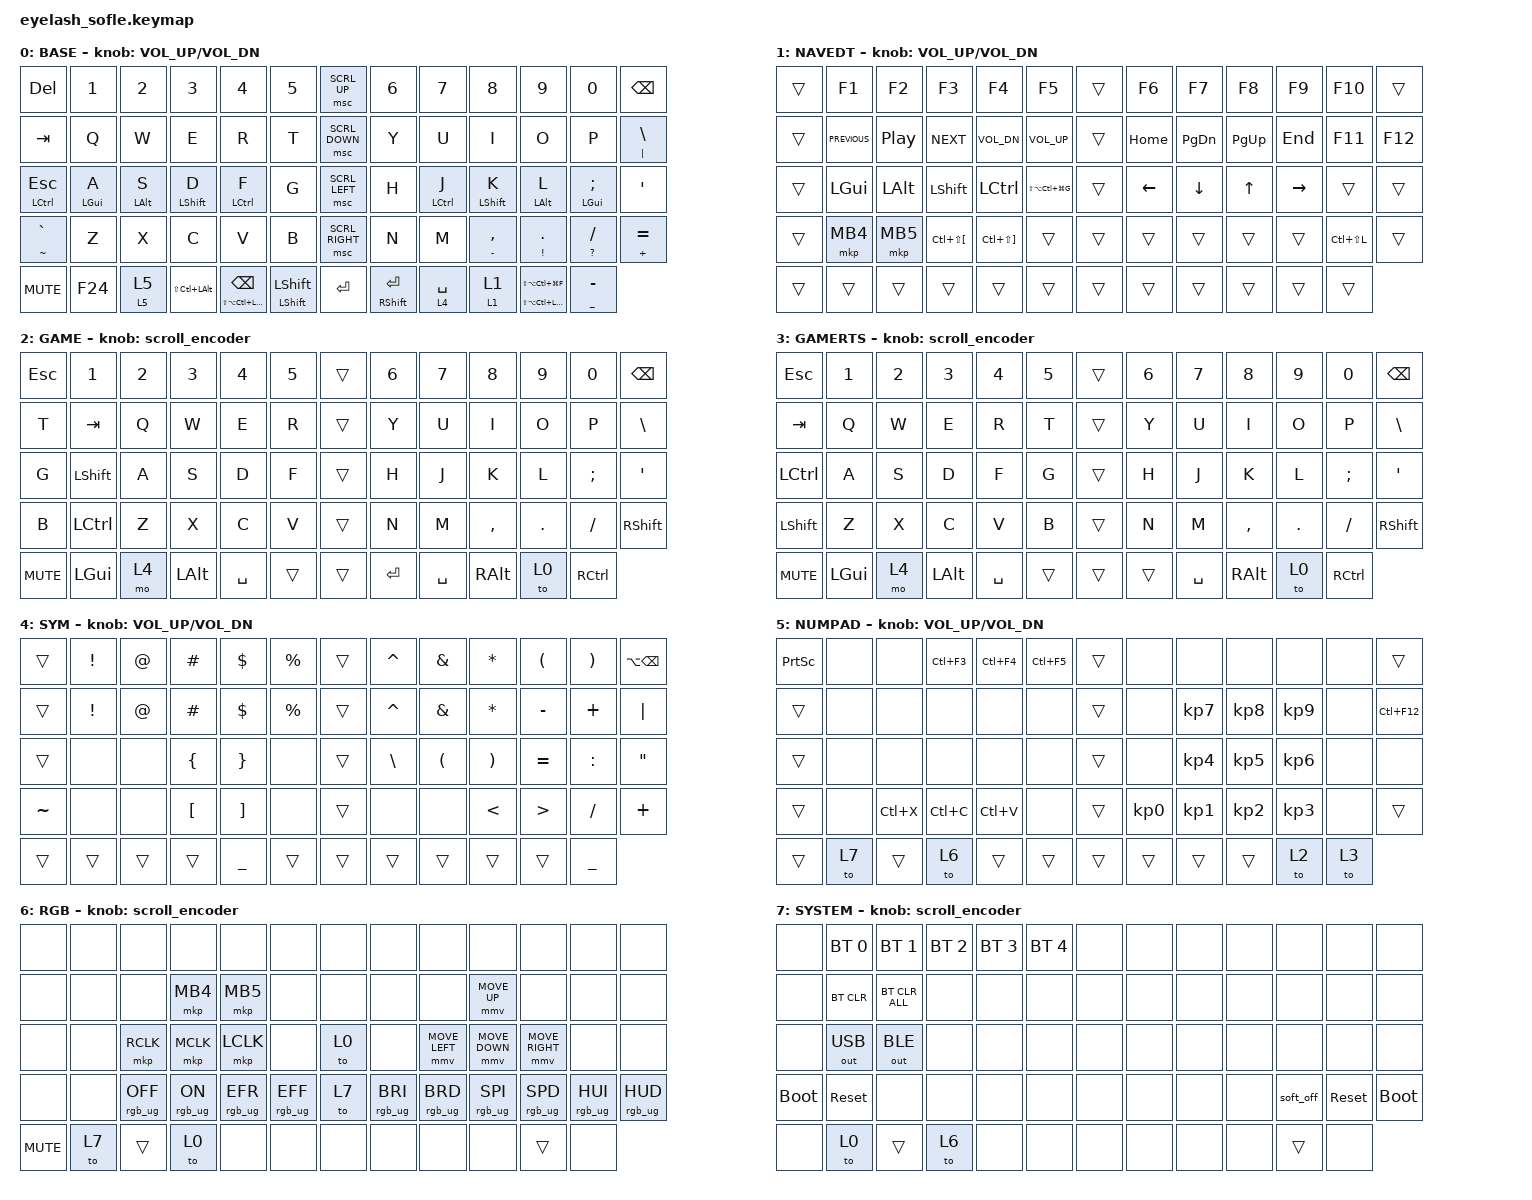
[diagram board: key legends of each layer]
#define ZMK_POINTING_DEFAULT_MOVE_VAL 1200  // 600
#define ZMK_POINTING_DEFAULT_SCRL_VAL 25   // 10

#include <input/processors.dtsi>
#include <zephyr/dt-bindings/input/input-event-codes.h>
#include <behaviors.dtsi>
#include <dt-bindings/zmk/bt.h>
#include <dt-bindings/zmk/keys.h>
#include <dt-bindings/zmk/outputs.h>
#include <dt-bindings/zmk/pointing.h>
#include <dt-bindings/zmk/rgb.h>

&mmv_input_listener { input-processors = <&zip_xy_scaler 2 1>; };

&msc_input_listener { input-processors = <&zip_scroll_scaler 2 1>; };

&msc {
    acceleration-exponent = <1>;      // 0
    time-to-max-speed-ms = <100>;       // 300
    delay-ms = <0>;                   // 0
};

&mmv {
    time-to-max-speed-ms = <500>;
    acceleration-exponent = <1>;
    trigger-period-ms = <16>;
};

/ {
    scroll_encoder: scroll_encoder {
        compatible = "zmk,behavior-sensor-rotate";
        #sensor-binding-cells = <0>;
        bindings = <&msc SCRL_DOWN>, <&msc SCRL_UP>;

        tap-ms = <100>;
    };

    hml: homerow_mod_left {
        compatible = "zmk,behavior-hold-tap";
        label = "HOMEROW_MOD_LEFT";
        #binding-cells = <2>;
        bindings = <&kp>, <&kp>;

        tapping-term-ms = <280>;
        flavor = "balanced";
        quick-tap-ms = <175>;
        require-prior-idle-ms = <130>;
        hold-trigger-on-release;
        hold-trigger-key-positions = <0 13 26 39 40 27 1 14 3 2 15 28 41 53 54 42 29 16 4 17 30 43 55 44 31 18 5 56 57>;
    };

    hmr: homerow_mod_right {
        compatible = "zmk,behavior-hold-tap";
        label = "HOMEROW_MOD_RIGHT";
        #binding-cells = <2>;
        bindings = <&kp>, <&kp>;

        tapping-term-ms = <280>;
        flavor = "balanced";
        quick-tap-ms = <175>;
        require-prior-idle-ms = <130>;
        hold-trigger-on-release;
        hold-trigger-key-positions = <7 8 9 10 11 12 20 21 22 23 24 25 33 34 35 36 37 38 46 47 48 49 50 51 60 61 62 63 59>;
    };

    skq: stick_key_quick_release {
        compatible = "zmk,behavior-sticky-key";
        label = "STICKY_KEY_QUICK_RELEASE";
        bindings = <&kp>;
        #binding-cells = <1>;
        release-after-ms = <1000>;
        quick-release;
    };

    oss: oneshot_mod {
        compatible = "zmk,behavior-hold-tap";
        label = "ONESHOT_MOD";
        bindings = <&kp>, <&skq>;

        #binding-cells = <2>;
        tapping-term-ms = <200>;
    };

    mo_tog: mo_tog {
        compatible = "zmk,behavior-hold-tap";
        #binding-cells = <2>;
        flavor = "hold-preferred";
        tapping-term-ms = <200>;
        bindings = <&mo>, <&tog>;
    };

    mo_sl: mo_sl {
        compatible = "zmk,behavior-hold-tap";
        #binding-cells = <2>;
        flavor = "hold-preferred";
        tapping-term-ms = <200>;
        bindings = <&mo>, <&sl>;

        label = "MO_SL";
    };

    mt_tp: mt_tap_preffered {
        compatible = "zmk,behavior-hold-tap";
        label = "MT_TAP_PREFFERED";
        bindings = <&kp>, <&kp>;

        #binding-cells = <2>;
        flavor = "tap-preferred";
        tapping-term-ms = <200>;
    };

    lt_td0: lt_tap_dance {
        compatible = "zmk,behavior-tap-dance";
        label = "lt_tap_dance";
        tapping-term-ms = <200>;
        #binding-cells = <0>;
        bindings = <&lt 4 SPACE>, <&kp PERIOD>;
    };

    behaviors {
    };

    keymap {
        compatible = "zmk,keymap";

        Base {
            bindings = <
&kp DEL                  &kp N1           &kp N2           &kp N3                &kp N4                             &kp N5                        &msc SCRL_UP     &kp N6               &kp N7               &kp N8              &kp N9                                     &kp N0                   &kp BACKSPACE
&kp TAB                  &kp Q            &kp W            &kp E                 &kp R                              &kp T                         &msc SCRL_DOWN   &kp Y                &kp U                &kp I               &kp O                                      &kp P                    &mt_tp PIPE BACKSLASH
&mt LEFT_CONTROL ESCAPE  &hml LEFT_GUI A  &hml LEFT_ALT S  &hml LSHIFT D         &hml LCTRL F                       &kp G                         &msc SCRL_LEFT   &kp H                &hmr LEFT_CONTROL J  &hmr LEFT_SHIFT K   &hmr LEFT_ALT L                            &hmr LEFT_GUI SEMICOLON  &kp APOS
&mt_tp TILDE GRAVE       &kp Z            &kp X            &kp C                 &kp V                              &kp B                         &msc SCRL_RIGHT  &kp N                &kp M                &mt_tp MINUS COMMA  &mt_tp EXCLAMATION PERIOD                  &mt_tp QUESTION FSLH     &mt_tp PLUS EQUAL
&kp C_MUTE               &kp F24          &mo_tog 5 5      &kp LS(LC(LEFT_ALT))  &mt_tp LS(LA(LC(LGUI))) BACKSPACE  &oss LEFT_SHIFT LEFT_SHIFT    &kp ENTER        &mt_tp RSHIFT ENTER  &lt 4 SPACE          &mo_tog 1 1         &mt_tp LS(LA(LC(LGUI))) LS(LA(LC(LG(F))))  &mt_tp UNDER MINUS
            >;

            sensor-bindings = <&inc_dec_kp C_VOLUME_UP C_VOL_DN>;
            display-name = "BASE";
        };

        Nav_Edit {
            bindings = <
&trans  &kp F1          &kp F2            &kp F3                    &kp F4                     &kp F5                   &trans  &kp F6          &kp F7          &kp F8        &kp F9           &kp F10        &trans
&trans  &kp C_PREVIOUS  &kp C_PLAY_PAUSE  &kp C_NEXT                &kp C_VOL_DN               &kp C_VOL_UP             &trans  &kp HOME        &kp PAGE_DOWN   &kp PAGE_UP   &kp END          &kp F11        &kp F12
&trans  &kp LEFT_GUI    &kp LEFT_ALT      &kp LEFT_SHIFT            &kp LEFT_CONTROL           &kp LS(LA(LC(LG(G))))    &trans  &kp LEFT_ARROW  &kp DOWN_ARROW  &kp UP_ARROW  &kp RIGHT_ARROW  &trans         &trans
&trans  &mkp MB4        &mkp MB5          &kp LC(LS(LEFT_BRACKET))  &kp LC(LS(RIGHT_BRACKET))  &trans                   &trans  &trans          &trans          &trans        &trans           &kp LC(LS(L))  &trans
&trans  &trans          &trans            &trans                    &trans                     &trans                   &trans  &trans          &trans          &trans        &trans           &trans
            >;

            sensor-bindings = <&inc_dec_kp C_VOLUME_UP C_VOL_DN>;
            display-name = "NAVEDT";
        };

        Gaming {
            bindings = <
&kp ESC     &kp N1            &kp N2  &kp N3        &kp N4     &kp N5    &trans  &kp N6     &kp N7     &kp N8         &kp N9   &kp N0     &kp BSPC
&kp T       &kp TAB           &kp Q   &kp W         &kp E      &kp R     &trans  &kp Y      &kp U      &kp I          &kp O    &kp P      &kp BSLH
&kp G       &kp LEFT_SHIFT    &kp A   &kp S         &kp D      &kp F     &trans  &kp H      &kp J      &kp K          &kp L    &kp SEMI   &kp APOS
&kp B       &kp LEFT_CONTROL  &kp Z   &kp X         &kp C      &kp V     &trans  &kp N      &kp M      &kp COMMA      &kp DOT  &kp FSLH   &kp RSHFT
&kp C_MUTE  &kp LGUI          &mo 4   &kp LEFT_ALT  &kp SPACE  &trans    &trans  &kp ENTER  &kp SPACE  &kp RIGHT_ALT  &to 0    &kp RCTRL
            >;

            sensor-bindings = <&scroll_encoder>;
            label = "GAME";
        };

        GamingRTS {
            label = "GAMERTS";
            bindings = <
&kp ESC     &kp N1    &kp N2  &kp N3        &kp N4     &kp N5    &trans  &kp N6  &kp N7     &kp N8         &kp N9   &kp N0     &kp BSPC
&kp TAB     &kp Q     &kp W   &kp E         &kp R      &kp T     &trans  &kp Y   &kp U      &kp I          &kp O    &kp P      &kp BSLH
&kp LCTRL   &kp A     &kp S   &kp D         &kp F      &kp G     &trans  &kp H   &kp J      &kp K          &kp L    &kp SEMI   &kp APOS
&kp LSHIFT  &kp Z     &kp X   &kp C         &kp V      &kp B     &trans  &kp N   &kp M      &kp COMMA      &kp DOT  &kp FSLH   &kp RSHFT
&kp C_MUTE  &kp LGUI  &mo 4   &kp LEFT_ALT  &kp SPACE  &trans    &trans  &trans  &kp SPACE  &kp RIGHT_ALT  &to 0    &kp RCTRL
            >;

            sensor-bindings = <&scroll_encoder>;
        };

        Symbols {
            bindings = <
&trans     &kp EXCLAMATION  &kp AT_SIGN  &kp HASH          &kp DOLLAR         &kp PERCENT    &trans  &kp CARET      &kp AMPERSAND         &kp ASTERISK           &kp LEFT_PARENTHESIS  &kp RIGHT_PARENTHESIS  &kp LA(BACKSPACE)
&trans     &kp EXCLAMATION  &kp AT       &kp HASH          &kp DOLLAR         &kp PERCENT    &trans  &kp CARET      &kp AMPERSAND         &kp STAR               &kp MINUS             &kp PLUS               &kp PIPE
&trans     &none            &none        &kp LEFT_BRACE    &kp RIGHT_BRACE    &none          &trans  &kp BACKSLASH  &kp LEFT_PARENTHESIS  &kp RIGHT_PARENTHESIS  &kp EQUAL             &kp COLON              &kp DOUBLE_QUOTES
&kp TILDE  &none            &none        &kp LEFT_BRACKET  &kp RIGHT_BRACKET  &none          &trans  &none          &none                 &kp LESS_THAN          &kp GREATER_THAN      &kp SLASH              &kp PLUS
&trans     &trans           &trans       &trans            &kp UNDERSCORE     &trans         &trans  &trans         &trans                &trans                 &trans                &kp UNDER
            >;

            sensor-bindings = <&inc_dec_kp C_VOLUME_UP C_VOL_DN>;
            display-name = "SYM";
        };

        Macro_Numpad {
            bindings = <
&kp PRINTSCREEN  &none  &none      &kp LC(F3)  &kp LC(F4)  &kp LC(F5)    &trans  &none            &none            &none            &none            &none  &trans
&trans           &none  &none      &none       &none       &none         &trans  &none            &kp KP_NUMBER_7  &kp KP_NUMBER_8  &kp KP_NUMBER_9  &none  &kp LC(F12)
&trans           &none  &none      &none       &none       &none         &trans  &none            &kp KP_NUMBER_4  &kp KP_NUMBER_5  &kp KP_NUMBER_6  &none  &none
&trans           &none  &kp LC(X)  &kp LC(C)   &kp LC(V)   &none         &trans  &kp KP_NUMBER_0  &kp KP_NUMBER_1  &kp KP_NUMBER_2  &kp KP_NUMBER_3  &none  &trans
&trans           &to 7  &trans     &to 6       &trans      &trans        &trans  &trans           &trans           &trans           &to 2            &to 3
            >;

            sensor-bindings = <&inc_dec_kp C_VOLUME_UP C_VOL_DN>;
            display-name = "NUMPAD";
        };

        RGB {
            bindings = <
&none       &none  &none            &none           &none            &none              &none  &none            &none            &none            &none            &none            &none
&none       &none  &none            &mkp MB4        &mkp MB5         &none              &none  &none            &none            &mmv MOVE_UP     &none            &none            &none
&none       &none  &mkp RCLK        &mkp MCLK       &mkp LCLK        &none              &to 0  &none            &mmv MOVE_LEFT   &mmv MOVE_DOWN   &mmv MOVE_RIGHT  &none            &none
&none       &none  &rgb_ug RGB_OFF  &rgb_ug RGB_ON  &rgb_ug RGB_EFR  &rgb_ug RGB_EFF    &to 7  &rgb_ug RGB_BRI  &rgb_ug RGB_BRD  &rgb_ug RGB_SPI  &rgb_ug RGB_SPD  &rgb_ug RGB_HUI  &rgb_ug RGB_HUD
&kp C_MUTE  &to 7  &trans           &to 0           &none            &none              &none  &none            &none            &none            &trans           &none
            >;

            display-name = "RGB";
            sensor-bindings = <&scroll_encoder>;
        };

        SYSTEM {
            bindings = <
&none        &bt BT_SEL 0  &bt BT_SEL 1    &bt BT_SEL 2  &bt BT_SEL 3  &bt BT_SEL 4    &none  &none  &none  &none  &none      &none       &none
&none        &bt BT_CLR    &bt BT_CLR_ALL  &none         &none         &none           &none  &none  &none  &none  &none      &none       &none
&none        &out OUT_USB  &out OUT_BLE    &none         &none         &none           &none  &none  &none  &none  &none      &none       &none
&bootloader  &sys_reset    &none           &none         &none         &none           &none  &none  &none  &none  &soft_off  &sys_reset  &bootloader
&none        &to 0         &trans          &to 6         &none         &none           &none  &none  &none  &none  &trans     &none
            >;

            display-name = "SYSTEM";
            sensor-bindings = <&scroll_encoder>;
        };
    };
};
